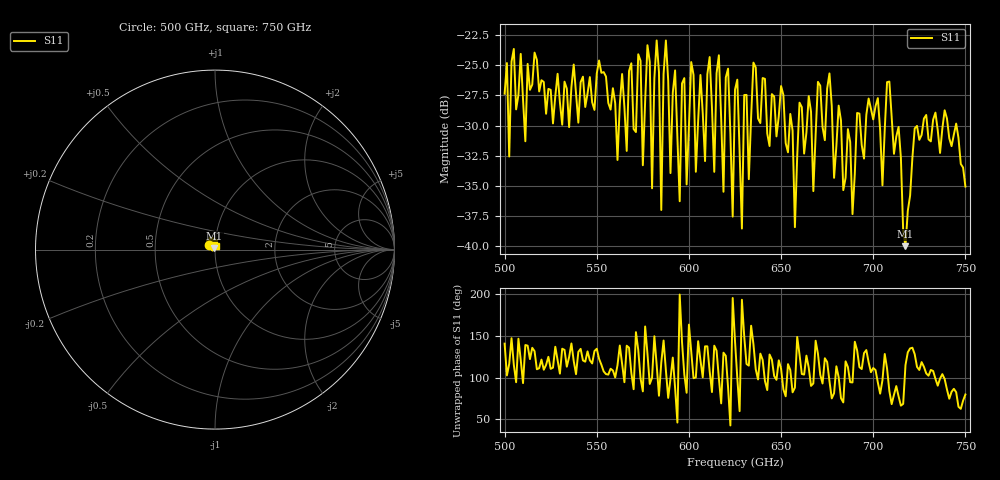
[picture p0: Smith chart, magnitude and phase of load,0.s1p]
!Created with mwavepy.
# GHz S RI R 50.0
!freq	ReS11	ImS11
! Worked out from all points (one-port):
!   201 points, 500 GHz to 750 GHz, reference 50 ohm
!   lowest |S11| = -40.0 dB at 717.5 GHz (marker M1), VSWR 1.02, Z = 49.6 + j0.898 ohm
!   |S11| at or under -10 dB: start of sweep to end of sweep
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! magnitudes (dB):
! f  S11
! 500 GHz  -27.4
! 531.2 GHz  -29.9
! 562.5 GHz  -28.2
! 582.5 GHz  -22.9
! 585 GHz  -37.0
! 587.5 GHz  -22.9
! 593.8 GHz  -31.0
! 608.8 GHz  -32.9
! 611.2 GHz  -24.3
! 613.8 GHz  -33.8
! 616.2 GHz  -24.2
! 618.8 GHz  -35.5
! 621.2 GHz  -25.3
! 623.8 GHz  -37.5
! 625 GHz  -27.0
! 628.8 GHz  -38.5
! 630 GHz  -27.5
! 632.5 GHz  -34.4
! 635 GHz  -24.8
! 656.2 GHz  -30.4
! 657.5 GHz  -38.4
! 660 GHz  -28.1
! 687.5 GHz  -31.4
! 705 GHz  -35.0
! 708.8 GHz  -26.4
! 717.5 GHz  -40.0
! 718.8 GHz  -37.1
! 750 GHz  -35.1
